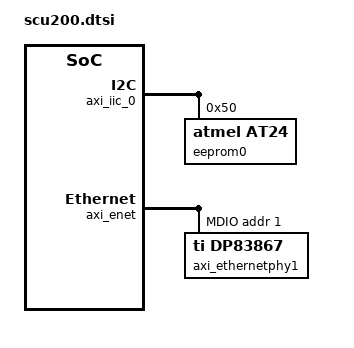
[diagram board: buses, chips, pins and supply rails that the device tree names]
// SPDX-License-Identifier: Apache-2.0
/*
 * (C) Copyright 2026, Advanced Micro Devices, Inc.
 *
 */

/ {
	aliases {
		eeprom-0 = &eeprom0;
	};
};

&axi_iic_0 {
	eeprom0: eeprom@50 {
		compatible = "atmel,at24";
		status = "okay";
		reg = <0x50>;
		size = <8192>;
		pagesize = <32>;
		address-width = <16>;
		timeout = <5>;
	};
};

&axi_enet {

	axi_ethernet: ethernet-mac {
		phy-handle = <&axi_ethernetphy1>;
		status = "okay";
	};

	axi_ethernet_mdio: mdio {
		#address-cells = <1>;
		#size-cells = <0>;
		compatible = "xlnx,axi-ethernet-1.00.a-mdio";

		axi_ethernetphy1: phy@1 {
			device_type = "ethernet-phy";
			compatible = "ti,dp83867";
			reg = <1>;
			ti,interface-type = "gmii";
			ti,dp83867-rxctrl-strap-quirk;
		};
	};
};
